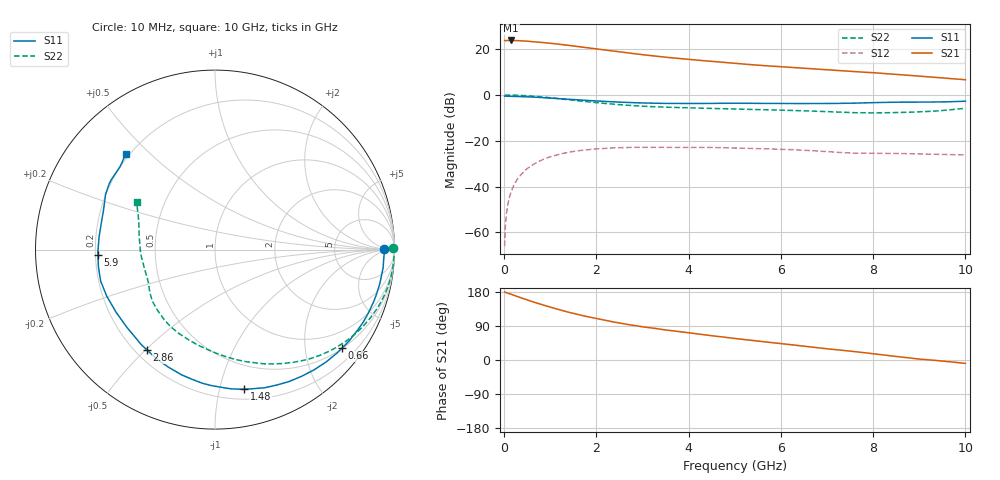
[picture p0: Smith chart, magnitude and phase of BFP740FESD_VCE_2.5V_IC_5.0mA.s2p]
! Infineon Technologies  Discrete & RF Semiconductors
! BFP740FESD
! VCE =  2.5 V,  IC =  5.0 mA
! Common Emitter S-Parameters:  Jan 2016
# GHz  S  MA  R  50
!  f  S11  S21  S12  S22
! GHz  MAG  ANG  MAG  ANG  MAG  ANG  MAG  ANG
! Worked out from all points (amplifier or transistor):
!   233 points, 10 MHz to 10 GHz, reference 50 ohm
!   highest |S21| = 23.8 dB at 150 MHz (marker M1)
!   |S21| within 3 dB of that: start of sweep to 1.733 GHz
!   unconditionally stable (mu >= 1): 7.1 GHz to end of sweep
!   at 200 MHz: K = 0.01, MSG = 31.9 dB, |S12| = -39.9 dB
!   at 1.74 GHz: K = 0.19, MSG = 22.4 dB, |S12| = -24.0 dB
!   at 10 GHz: K = 1.51, MAG = 12.2 dB, |S12| = -26.2 dB
!   S11 on the Smith chart (normalised r, x): 10 MHz: 33, +3; 660 MHz: 0.51, -2.84; 1.48 GHz: 0.28, -1.19; 2.86 GHz: 0.25, -0.50; 5.9 GHz: 0.21, -0.02; 10 GHz: 0.18, +0.42
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0.01  0.9411 0.3  15.48 179.5  0.0005 99.9  0.9901 0.6
0.025  0.9428 -1.5  15.41 178.9  0.0013 93.8  0.9981 -1.0
0.05  0.9414 -3.0  15.39 177.6  0.0026 88.0  0.9982 -2.0
0.15  0.939 -8.9  15.5 173.5  0.0076 85.1  0.9956 -6.1
0.4  0.9233 -23.3  15.16 162.8  0.0199 75.7  0.9736 -16.2
0.66  0.8958 -37.8  14.52 152.1  0.0316 66.5  0.9345 -26.2
0.9  0.8682 -50.5  13.79 143.1  0.0412 58.8  0.8911 -34.9
1.04  0.8495 -57.6  13.32 138.1  0.046 54.4  0.8621 -39.8
1.26  0.8219 -68.3  12.59 130.5  0.0527 48.1  0.8163 -47.3
1.48  0.7947 -78.1  11.82 123.6  0.058 42.3  0.771 -54.2
1.68  0.771 -86.4  11.16 117.7  0.0618 37.3  0.7326 -60.1
1.88  0.7512 -94.0  10.5 112.3  0.0649 32.9  0.6987 -65.7
2.2  0.7223 -104.9  9.541 104.3  0.0685 26.8  0.6515 -73.9
2.54  0.6954 -115.4  8.646 96.7  0.0709 21.0  0.6096 -82.1
2.86  0.6758 -124.2  7.88 90.3  0.072 16.3  0.5789 -88.9
3.4  0.6559 -136.3  6.842 81.1  0.0722 10.0  0.5466 -97.9
4.5  0.6566 -156.8  5.421 64.0  0.0715 0.5  0.5089 -113.2
5.1  0.6591 -166.0  4.812 55.4  0.0693 -3.9  0.4922 -121.2
5.9  0.6531 -177.3  4.204 44.6  0.0657 -8.8  0.4687 -131.8
6.8  0.6494 169.2  3.654 32.4  0.0596 -12.8  0.4401 -144.5
8.4  0.6934 148.4  2.871 10.8  0.053 -9.1  0.4121 -174.3
10  0.7303 132.9  2.153 -9.0  0.0491 -6.8  0.5122 148.6
